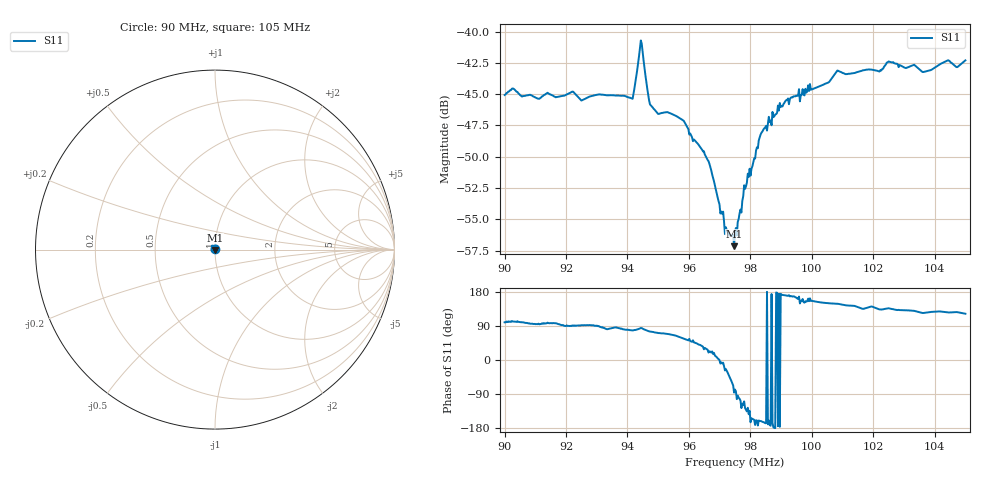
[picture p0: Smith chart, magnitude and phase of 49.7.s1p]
# HZ S RI R 50
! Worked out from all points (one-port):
!   505 points, 90 MHz to 105 MHz, reference 50 ohm
!   lowest |S11| = -57.1 dB at 97.47 MHz (marker M1), VSWR 1.00, Z = 50 - j0.139 ohm
!   |S11| at or under -10 dB: start of sweep to end of sweep
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9e7  -0.000913 0.00551
9.026786e7  -0.00119 0.00581
9.107143e7  -0.000433 0.00538
9.187501e7  -0.000194 0.00553
9.375001e7  0.000616 0.00552
9.416668e7  0.00111 0.00527
9.443454e7  0.000892 0.00917
9.449406e7  0.00106 0.00819
9.467263e7  0.00131 0.00545
9.476192e7  0.00134 0.00489
9.500002e7  0.00152 0.00443
9.562502e7  0.0021 0.00406
9.660716e7  0.00273 0.00142
9.72024e7  0.00151 -0.000674
9.747026e7  9.34e-05 -0.00139
9.750002e7  0.000333 -0.00156
9.785717e7  -0.0016 -0.0018
9.833336e7  -0.00367 -0.00126
9.895836e7  -0.00517 -0.000341
9.937503e7  -0.00532 0.0012
1.00506e8  -0.0054 0.00312
1.008334e8  -0.00597 0.00364
1.0125e8  -0.00545 0.00404
1.022024e8  -0.00476 0.00503
1.025e8  -0.00551 0.00522
1.03125e8  -0.00472 0.00543
1.036608e8  -0.0039 0.0057
1.05e8  -0.00408 0.0065
